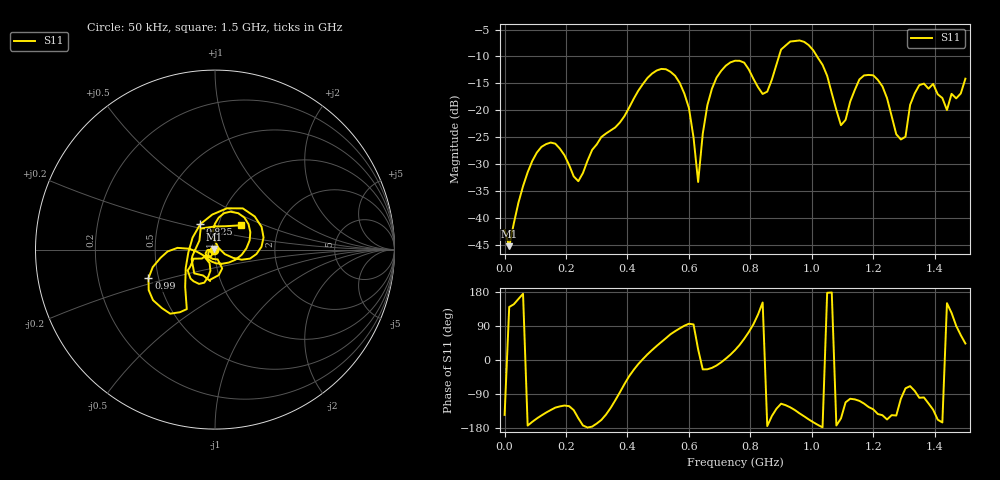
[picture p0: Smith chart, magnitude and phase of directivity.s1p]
! Created with skrf 1.8.0 (http://scikit-rf.org).
# Hz S RI R 50.0
!freq ReS11 ImS11
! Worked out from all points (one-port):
!   101 points, 50 kHz to 1.5 GHz, reference 50 ohm
!   lowest |S11| = -45.3 dB at 15.05 MHz (marker M1), VSWR 1.01, Z = 49.6 + j0.348 ohm
!   |S11| at or under -10 dB: start of sweep to 893.1 MHz; 1.017 GHz to end of sweep
!   S11 on the Smith chart (normalised r, x): 50 kHz: 0.99, -0.01; 825 MHz: 0.82, +0.24; 990 MHz: 0.44, -0.17; 1.5 GHz: 1.28, +0.36
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50000  -0.00627 -0.00441
1.50495e7  -0.00416 0.00351
1.050465e8  -0.0364 -0.0175
1.950435e8  -0.0191 -0.033
2.40042e8  -0.0196 -0.00969
3.750375e8  0.00574 -0.0765
4.950335e8  0.1871 0.141
5.70031e8  0.0205 0.1783
6.0003e8  -0.0104 0.1044
6.30029e8  0.019 0.0101
6.450285e8  0.0547 -0.0252
6.750275e8  0.1486 -0.0562
7.50025e8  0.2596 0.1264
8.250225e8  -0.0821 0.1417
8.550215e8  -0.1483 -0.0147
9.0002e8  -0.1571 -0.3317
9.450185e8  -0.2956 -0.3264
9.90017e8  -0.3705 -0.1591
1.050015e9  -0.209 0.00972
1.095014e9  -0.0652 -0.0318
1.125012e9  -0.0255 -0.1175
1.20001e9  -0.1364 -0.1614
1.290007e9  -0.0113 -0.0523
1.320006e9  0.0401 -0.1046
1.365004e9  -0.0271 -0.1748
1.425002e9  -0.1253 -0.0339
1.440002e9  -0.0869 0.0503
1.5e9  0.1425 0.1354
